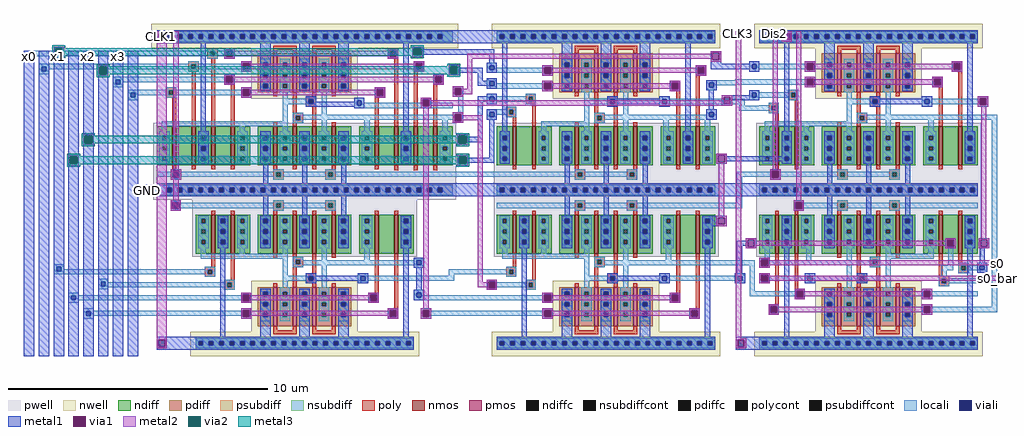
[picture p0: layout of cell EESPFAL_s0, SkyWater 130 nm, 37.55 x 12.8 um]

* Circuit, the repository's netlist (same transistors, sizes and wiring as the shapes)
* NGSPICE file created from EESPFAL_s0.ext - technology: sky130A

.subckt EESPFAL_XOR_v3 OUT A A_bar B B_bar Dis OUT_bar GND CLK
X0 CLK OUT OUT_bar CLK sky130_fd_pr__pfet_01v8 ad=2.7e+12p pd=1.26e+07u as=9e+11p ps=4.2e+06u w=1.5e+06u l=150000u M=2
X1 OUT_bar Dis GND GND sky130_fd_pr__nfet_01v8 ad=2.7e+12p pd=1.26e+07u as=2.7e+12p ps=1.26e+07u w=1.5e+06u l=150000u
X2 a_n840_410# A CLK GND sky130_fd_pr__nfet_01v8 ad=9e+11p pd=4.2e+06u as=7.5e+12p ps=3.22e+07u w=1.5e+06u l=150000u
X3 a_n1140_410# B_bar OUT_bar GND sky130_fd_pr__nfet_01v8 ad=9e+11p pd=4.2e+06u as=0p ps=0u w=1.5e+06u l=150000u
X4 a_420_410# B_bar OUT GND sky130_fd_pr__nfet_01v8 ad=9e+11p pd=4.2e+06u as=2.7e+12p ps=1.26e+07u w=1.5e+06u l=150000u
X5 GND Dis OUT GND sky130_fd_pr__nfet_01v8 ad=0p pd=0u as=0p ps=0u w=1.5e+06u l=150000u
X6 OUT OUT_bar CLK CLK sky130_fd_pr__pfet_01v8 ad=9e+11p pd=4.2e+06u as=0p ps=0u w=1.5e+06u l=150000u M=2
X7 a_720_410# A_bar CLK GND sky130_fd_pr__nfet_01v8 ad=9e+11p pd=4.2e+06u as=0p ps=0u w=1.5e+06u l=150000u
X8 OUT_bar B a_n840_410# GND sky130_fd_pr__nfet_01v8 ad=0p pd=0u as=0p ps=0u w=1.5e+06u l=150000u
X9 GND OUT OUT_bar GND sky130_fd_pr__nfet_01v8 ad=0p pd=0u as=0p ps=0u w=1.5e+06u l=150000u
X10 CLK A_bar a_n1140_410# GND sky130_fd_pr__nfet_01v8 ad=0p pd=0u as=0p ps=0u w=1.5e+06u l=150000u
X11 OUT OUT_bar GND GND sky130_fd_pr__nfet_01v8 ad=0p pd=0u as=0p ps=0u w=1.5e+06u l=150000u
X12 CLK A a_420_410# GND sky130_fd_pr__nfet_01v8 ad=0p pd=0u as=0p ps=0u w=1.5e+06u l=150000u
X13 OUT B a_720_410# GND sky130_fd_pr__nfet_01v8 ad=0p pd=0u as=0p ps=0u w=1.5e+06u l=150000u
.ends

.subckt EESPFAL_NOR_v3 OUT A A_bar B B_bar Dis OUT_bar GND CLK
X0 a_n1820_550# A_bar CLK GND sky130_fd_pr__nfet_01v8 ad=9e+11p pd=4.2e+06u as=6e+12p ps=2.62e+07u w=1.5e+06u l=150000u
X1 OUT_bar Dis GND GND sky130_fd_pr__nfet_01v8 ad=1.8e+12p pd=8.4e+06u as=2.7e+12p ps=1.26e+07u w=1.5e+06u l=150000u
X2 OUT OUT_bar CLK CLK sky130_fd_pr__pfet_01v8 ad=9e+11p pd=4.2e+06u as=2.7e+12p ps=1.26e+07u w=1.5e+06u l=150000u M=2
X3 CLK OUT OUT_bar CLK sky130_fd_pr__pfet_01v8 ad=0p pd=0u as=9e+11p ps=4.2e+06u w=1.5e+06u l=150000u M=2
X4 OUT_bar B_bar a_n1820_550# GND sky130_fd_pr__nfet_01v8 ad=0p pd=0u as=0p ps=0u w=1.5e+06u l=150000u
X5 GND Dis OUT GND sky130_fd_pr__nfet_01v8 ad=0p pd=0u as=2.7e+12p ps=1.26e+07u w=1.5e+06u l=150000u
X6 OUT A CLK GND sky130_fd_pr__nfet_01v8 ad=0p pd=0u as=0p ps=0u w=1.5e+06u l=150000u
X7 GND OUT OUT_bar GND sky130_fd_pr__nfet_01v8 ad=0p pd=0u as=0p ps=0u w=1.5e+06u l=150000u
X8 OUT OUT_bar GND GND sky130_fd_pr__nfet_01v8 ad=0p pd=0u as=0p ps=0u w=1.5e+06u l=150000u
X9 CLK B OUT GND sky130_fd_pr__nfet_01v8 ad=0p pd=0u as=0p ps=0u w=1.5e+06u l=150000u
.ends

.subckt EESPFAL_NAND_v3 OUT A A_bar B B_bar Dis OUT_bar GND CLK
X0 CLK OUT_bar OUT CLK sky130_fd_pr__pfet_01v8 ad=2.7e+12p pd=1.26e+07u as=9e+11p ps=4.2e+06u w=1.5e+06u l=150000u M=2
X1 CLK OUT OUT_bar CLK sky130_fd_pr__pfet_01v8 ad=0p pd=0u as=9e+11p ps=4.2e+06u w=1.5e+06u l=150000u M=2
X2 OUT_bar Dis GND GND sky130_fd_pr__nfet_01v8 ad=2.7e+12p pd=1.26e+07u as=2.7e+12p ps=1.26e+07u w=1.5e+06u l=150000u
X3 GND OUT OUT_bar GND sky130_fd_pr__nfet_01v8 ad=0p pd=0u as=0p ps=0u w=1.5e+06u l=150000u
X4 GND Dis OUT GND sky130_fd_pr__nfet_01v8 ad=0p pd=0u as=1.8e+12p ps=8.4e+06u w=1.5e+06u l=150000u
X5 OUT_bar A_bar CLK GND sky130_fd_pr__nfet_01v8 ad=0p pd=0u as=6e+12p ps=2.62e+07u w=1.5e+06u l=150000u
X6 OUT OUT_bar GND GND sky130_fd_pr__nfet_01v8 ad=0p pd=0u as=0p ps=0u w=1.5e+06u l=150000u
X7 a_501_n414# B OUT GND sky130_fd_pr__nfet_01v8 ad=9e+11p pd=4.2e+06u as=0p ps=0u w=1.5e+06u l=150000u
X8 CLK A a_501_n414# GND sky130_fd_pr__nfet_01v8 ad=0p pd=0u as=0p ps=0u w=1.5e+06u l=150000u
X9 CLK B_bar OUT_bar GND sky130_fd_pr__nfet_01v8 ad=0p pd=0u as=0p ps=0u w=1.5e+06u l=150000u
.ends

.subckt EESPFAL_s0 GND x0 x0_bar x1 x1_bar x2 x2_bar x3 x3_bar CLK1 Dis1 CLK3 Dis2
+ CLK2 Dis3 s0 s0_bar
XEESPFAL_XOR_v3_0 EESPFAL_NAND_v3_0/A x0 x0_bar x3 x3_bar Dis1 EESPFAL_NAND_v3_1/A
+ GND CLK1 EESPFAL_XOR_v3
XEESPFAL_NOR_v3_0 s0 EESPFAL_NOR_v3_0/A EESPFAL_NOR_v3_0/A_bar EESPFAL_NOR_v3_0/B
+ EESPFAL_NOR_v3_0/B_bar Dis3 s0_bar GND CLK3 EESPFAL_NOR_v3
XEESPFAL_NOR_v3_1 EESPFAL_NAND_v3_0/B x1 x1_bar x2_bar x2 Dis1 EESPFAL_NAND_v3_0/B_bar
+ GND CLK1 EESPFAL_NOR_v3
XEESPFAL_NAND_v3_0 EESPFAL_NOR_v3_0/A EESPFAL_NAND_v3_0/A EESPFAL_NAND_v3_1/A EESPFAL_NAND_v3_0/B
+ EESPFAL_NAND_v3_0/B_bar Dis2 EESPFAL_NOR_v3_0/A_bar GND CLK2 EESPFAL_NAND_v3
XEESPFAL_NAND_v3_1 EESPFAL_NOR_v3_0/B EESPFAL_NAND_v3_1/A EESPFAL_NAND_v3_0/A EESPFAL_NAND_v3_1/B
+ EESPFAL_NAND_v3_1/B_bar Dis2 EESPFAL_NOR_v3_0/B_bar GND CLK2 EESPFAL_NAND_v3
XEESPFAL_NAND_v3_2 EESPFAL_NAND_v3_1/B x2 x2_bar x1_bar x1 Dis1 EESPFAL_NAND_v3_1/B_bar
+ GND CLK1 EESPFAL_NAND_v3
.ends

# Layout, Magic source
magic
tech sky130A
magscale 1 2
<< locali >>
rect -650 3710 290 3750
rect -536 3610 290 3650
rect 34 3510 290 3550
rect 4742 3526 4930 3530
rect 4600 3490 4930 3526
rect 4600 3486 4742 3490
rect 148 3410 290 3450
rect 2610 3275 2650 3398
rect 4590 3340 4816 3380
rect 4776 3329 4816 3340
rect 4776 3289 4930 3329
rect 2570 3220 2604 3260
rect 6610 3220 6758 3260
rect 1670 2780 2910 2820
rect 4757 2780 4930 2820
rect 182 2640 290 2720
rect 4757 2580 4797 2780
rect 398 2540 590 2580
rect 3990 2540 4797 2580
rect 5272 2540 5530 2580
rect 4590 2100 4895 2140
rect 6381 2100 6421 2230
rect -422 2030 590 2070
rect 2540 2030 2910 2070
rect 2540 2020 2580 2030
rect 2269 1980 2580 2020
rect 4590 1980 4741 2020
rect -80 1930 590 1970
rect 4855 1900 4895 2100
rect 6330 2060 6421 2100
rect 6330 2020 6370 2060
rect -308 1830 590 1870
rect 2350 1830 2910 1870
rect 4855 1860 5200 1900
rect 6718 1780 6758 3220
rect -194 1710 590 1750
rect 2404 1710 2910 1750
rect 6610 1740 6758 1780
<< metal1 >>
rect 2570 3810 2910 3910
rect -730 1399 -650 3750
rect -616 1399 -536 3750
rect -502 1399 -422 3750
rect -388 1399 -308 3750
rect -274 1400 -194 3750
rect -160 1399 -80 3750
rect -46 1400 34 3750
rect 68 1399 148 3750
rect 2338 3722 2890 3762
rect 2850 3660 2890 3722
rect 4554 3650 4634 3668
rect 2618 3582 2802 3622
rect 4554 3610 4850 3650
rect 2762 3520 2802 3582
rect 2762 3480 2830 3520
rect 2762 3360 2830 3400
rect 2762 3088 2802 3360
rect 4539 3300 4579 3471
rect 4720 3369 4850 3409
rect 2685 3048 2802 3088
rect 2850 2928 2890 3220
rect 2661 2888 2890 2928
rect 4678 2900 5100 2940
rect 200 2657 245 2702
rect 2569 2630 2910 2730
rect 4590 2630 4930 2730
rect 4570 2400 4598 2480
rect 4757 2250 4825 2290
rect 2290 1910 2330 2080
rect 4757 2040 4797 2250
rect 6624 2121 6664 2230
rect 290 1450 590 1550
rect 4748 1450 4930 1550
<< metal2 >>
rect 290 1540 370 3900
rect 419 2520 459 3900
rect 2680 3688 4554 3728
rect 2680 3458 2720 3688
rect 2650 3418 2720 3458
rect 2404 3329 4720 3369
rect 2344 1770 2384 3310
rect 2650 3216 2802 3256
rect 2762 1970 2802 3216
rect 4618 2480 4658 2880
rect 2762 1930 2830 1970
rect 4748 1540 4788 3900
rect 5032 2840 5072 3900
rect 5120 3830 5160 3900
rect 5212 2600 5252 3900
rect 6636 2310 6676 3320
rect 4905 2250 6360 2290
rect 5010 2100 6781 2140
rect 5010 1980 6781 2020
<< metal3 >>
rect -412 3712 2248 3772
rect -70 3572 2528 3632
rect -184 3038 2595 3098
rect -298 2878 2619 2938
use EESPFAL_NAND_v3  EESPFAL_NAND_v3_0
transform 1 0 5839 0 1 3284
box -949 -680 811 676
use EESPFAL_NAND_v3  EESPFAL_NAND_v3_1
transform 1 0 3819 0 -1 2076
box -949 -680 811 676
use EESPFAL_NAND_v3  EESPFAL_NAND_v3_2
transform 1 0 1499 0 -1 2076
box -949 -680 811 676
use EESPFAL_NOR_v3  EESPFAL_NOR_v3_0
transform -1 0 4640 0 -1 3040
box -2010 284 -250 1640
use EESPFAL_NOR_v3  EESPFAL_NOR_v3_1
transform 1 0 4880 0 1 2320
box -2010 284 -250 1640
use EESPFAL_XOR_v3  EESPFAL_XOR_v3_0
transform 1 0 1580 0 1 2460
box -1330 144 1030 1500
use Li_mcon_M1  Li_mcon_M1_0
transform 1 0 6624 0 1 2061
box -20 -20 60 60
use Li_mcon_M1  Li_mcon_M1_1
transform 1 0 4870 0 1 3610
box -20 -20 60 60
use Li_mcon_M1  Li_mcon_M1_2
transform -1 0 4580 0 1 3466
box -20 -20 60 60
use Li_mcon_M1  Li_mcon_M1_3
transform 1 0 4540 0 1 3240
box -20 -20 60 60
use Li_mcon_M1  Li_mcon_M1_4
transform 1 0 4870 0 1 3389
box -20 -20 60 60
use Li_mcon_M1  Li_mcon_M1_5
transform 1 0 4761 0 1 1980
box -20 -20 60 60
use Li_mcon_M1  Li_mcon_M1_6
transform 1 0 2850 0 1 3600
box -20 -20 60 60
use Li_mcon_M1  Li_mcon_M1_7
transform 1 0 2850 0 1 3480
box -20 -20 60 60
use Li_mcon_M1  Li_mcon_M1_8
transform 1 0 2850 0 1 3240
box -20 -20 60 60
use Li_mcon_M1  Li_mcon_M1_9
transform 1 0 2850 0 1 3360
box -20 -20 60 60
use Li_mcon_M1  Li_mcon_M1_10
transform 1 0 2290 0 1 1850
box -20 -20 60 60
use Li_mcon_M1  Li_mcon_M1_11
transform 1 0 2290 0 1 2100
box -20 -20 60 60
use Li_mcon_M1  Li_mcon_M1_12
transform 1 0 -26 0 1 3490
box -20 -20 60 60
use Li_mcon_M1  Li_mcon_M1_13
transform 1 0 88 0 1 3390
box -20 -20 60 60
use Li_mcon_M1  Li_mcon_M1_14
transform 1 0 -710 0 1 3690
box -20 -20 60 60
use Li_mcon_M1  Li_mcon_M1_15
transform 1 0 -596 0 1 3590
box -20 -20 60 60
use Li_mcon_M1  Li_mcon_M1_16
transform 1 0 202 0 1 2660
box -20 -20 60 60
use Li_mcon_M1  Li_mcon_M1_17
transform 1 0 -482 0 1 2050
box -20 -20 60 60
use Li_mcon_M1  Li_mcon_M1_18
transform 1 0 -140 0 1 1936
box -20 -20 60 60
use Li_mcon_M1  Li_mcon_M1_19
transform 1 0 -368 0 1 1830
box -20 -20 60 60
use Li_mcon_M1  Li_mcon_M1_20
transform 1 0 -254 0 1 1710
box -20 -20 60 60
use Li_via_M2  Li_via_M2_0
transform 1 0 6650 0 1 3358
box -40 -38 40 42
use Li_via_M2  Li_via_M2_1
transform 1 0 6400 0 1 2268
box -40 -38 40 42
use Li_via_M2  Li_via_M2_2
transform 1 0 5052 0 1 2798
box -40 -38 40 42
use Li_via_M2  Li_via_M2_3
transform 1 0 4970 0 1 1998
box -40 -38 40 42
use Li_via_M2  Li_via_M2_4
transform 1 0 4970 0 1 2118
box -40 -38 40 42
use Li_via_M2  Li_via_M2_5
transform 1 0 5232 0 1 2558
box -40 -38 40 42
use Li_via_M2  Li_via_M2_6
transform 1 0 2364 0 1 3348
box -40 -38 40 42
use Li_via_M2  Li_via_M2_7
transform 1 0 2610 0 1 3436
box -40 -38 40 42
use Li_via_M2  Li_via_M2_8
transform 1 0 2610 0 1 3234
box -40 -38 40 42
use Li_via_M2  Li_via_M2_9
transform 1 0 2870 0 1 1948
box -40 -38 40 42
use Li_via_M2  Li_via_M2_10
transform 1 0 2364 0 1 1728
box -40 -38 40 42
use Li_via_M2  Li_via_M2_11
transform 1 0 439 0 1 2798
box -40 -38 40 42
use Li_via_M2  Li_via_M2_12
transform 1 0 438 0 1 2558
box -40 -38 40 42
use M1_M3  M1_M3_0
transform 1 0 2358 0 1 3782
box -110 -90 -10 10
use M1_M3  M1_M3_1
transform 1 0 2638 0 1 3642
box -110 -90 -10 10
use M1_M3  M1_M3_2
transform 1 0 2705 0 1 2948
box -110 -90 -10 10
use M1_M3  M1_M3_3
transform 1 0 2705 0 1 3108
box -110 -90 -10 10
use M1_M3  M1_M3_4
transform 1 0 -60 0 1 3639
box -110 -90 -10 10
use M1_M3  M1_M3_5
transform 1 0 -402 0 1 3782
box -110 -90 -10 10
use M1_M3  M1_M3_6
transform 1 0 -288 0 1 2948
box -110 -90 -10 10
use M1_M3  M1_M3_7
transform 1 0 -174 0 1 3108
box -110 -90 -10 10
use M1_via_M2  M1_via_M2_0
transform 1 0 6658 0 1 2268
box -40 -38 40 42
use M1_via_M2  M1_via_M2_1
transform 1 0 5140 0 1 3858
box -40 -38 40 42
use M1_via_M2  M1_via_M2_2
transform 1 0 4638 0 1 2918
box -40 -38 40 42
use M1_via_M2  M1_via_M2_3
transform 1 0 4680 0 1 3367
box -40 -38 40 42
use M1_via_M2  M1_via_M2_4
transform 1 0 4594 0 1 3706
box -40 -38 40 42
use M1_via_M2  M1_via_M2_5
transform 1 0 4788 0 1 1498
box -40 -38 40 42
use M1_via_M2  M1_via_M2_6
transform 1 0 4638 0 1 2438
box -40 -38 40 42
use M1_via_M2  M1_via_M2_7
transform 1 0 4865 0 1 2268
box -40 -38 40 42
use M1_via_M2  M1_via_M2_8
transform 1 0 330 0 1 3858
box -40 -38 40 42
use M1_via_M2  M1_via_M2_9
transform 1 0 330 0 1 1498
box -40 -38 40 42
<< labels >>
flabel metal1 s 200 2657 245 2702 2 FreeSans 2500 0 0 0 GND
port 1 nsew
flabel metal1 s -720 3676 -659 3736 2 FreeSans 3126 0 0 0 x0
port 2 nsew
flabel metal1 s -607 3615 -546 3675 2 FreeSans 3126 0 0 0 x0_bar
port 3 nsew
flabel metal1 s -492 3676 -431 3736 2 FreeSans 3126 0 0 0 x1
port 4 nsew
flabel metal1 s -378 3615 -317 3675 2 FreeSans 3126 0 0 0 x1_bar
port 5 nsew
flabel metal1 s -264 3677 -203 3737 2 FreeSans 3126 0 0 0 x2
port 6 nsew
flabel metal1 s -151 3616 -90 3676 2 FreeSans 3126 0 0 0 x2_bar
port 7 nsew
flabel metal1 s -36 3677 25 3737 2 FreeSans 3126 0 0 0 x3
port 8 nsew
flabel metal1 s 78 3616 139 3676 2 FreeSans 3126 0 0 0 x3_bar
port 9 nsew
flabel metal2 s 308 3844 348 3884 2 FreeSans 2500 0 0 0 CLK1
port 10 nsew
flabel metal2 s 430 3860 450 3880 2 FreeSans 2500 0 0 0 Dis1
port 11 nsew
flabel metal2 s 4758 3872 4778 3892 2 FreeSans 2500 0 0 0 CLK3
port 12 nsew
flabel metal2 s 5040 3875 5055 3890 2 FreeSans 2500 0 0 0 Dis2
port 13 nsew
flabel metal2 s 5130 3875 5145 3890 2 FreeSans 2500 0 0 0 CLK2
port 14 nsew
flabel metal2 s 5225 3875 5240 3890 2 FreeSans 2500 0 0 0 Dis3
port 15 nsew
flabel metal2 s 6755 2110 6770 2125 2 FreeSans 2500 0 0 0 s0
port 16 nsew
flabel metal2 s 6755 1990 6770 2005 2 FreeSans 2500 0 0 0 s0_bar
port 17 nsew
<< end >>

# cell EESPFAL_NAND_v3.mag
magic
tech sky130A
magscale 1 2
<< nwell >>
rect -949 486 811 676
rect -479 96 341 486
<< pwell >>
rect -935 -680 797 -88
<< nmos >>
rect -789 -414 -759 -114
rect -639 -414 -609 -114
rect -309 -414 -279 -114
rect -159 -414 -129 -114
rect -9 -414 21 -114
rect 141 -414 171 -114
rect 471 -414 501 -114
rect 621 -414 651 -114
<< pmos >>
rect -309 146 -279 446
rect -159 146 -129 446
rect -9 146 21 446
rect 141 146 171 446
<< ndiff >>
rect -909 -187 -789 -114
rect -909 -221 -866 -187
rect -832 -221 -789 -187
rect -909 -267 -789 -221
rect -909 -301 -866 -267
rect -832 -301 -789 -267
rect -909 -347 -789 -301
rect -909 -381 -866 -347
rect -832 -381 -789 -347
rect -909 -414 -789 -381
rect -759 -187 -639 -114
rect -759 -221 -716 -187
rect -682 -221 -639 -187
rect -759 -267 -639 -221
rect -759 -301 -716 -267
rect -682 -301 -639 -267
rect -759 -347 -639 -301
rect -759 -381 -716 -347
rect -682 -381 -639 -347
rect -759 -414 -639 -381
rect -609 -187 -489 -114
rect -609 -221 -566 -187
rect -532 -221 -489 -187
rect -609 -267 -489 -221
rect -609 -301 -566 -267
rect -532 -301 -489 -267
rect -609 -347 -489 -301
rect -609 -381 -566 -347
rect -532 -381 -489 -347
rect -609 -414 -489 -381
rect -429 -187 -309 -114
rect -429 -221 -386 -187
rect -352 -221 -309 -187
rect -429 -267 -309 -221
rect -429 -301 -386 -267
rect -352 -301 -309 -267
rect -429 -347 -309 -301
rect -429 -381 -386 -347
rect -352 -381 -309 -347
rect -429 -414 -309 -381
rect -279 -187 -159 -114
rect -279 -221 -236 -187
rect -202 -221 -159 -187
rect -279 -267 -159 -221
rect -279 -301 -236 -267
rect -202 -301 -159 -267
rect -279 -347 -159 -301
rect -279 -381 -236 -347
rect -202 -381 -159 -347
rect -279 -414 -159 -381
rect -129 -187 -9 -114
rect -129 -221 -86 -187
rect -52 -221 -9 -187
rect -129 -267 -9 -221
rect -129 -301 -86 -267
rect -52 -301 -9 -267
rect -129 -347 -9 -301
rect -129 -381 -86 -347
rect -52 -381 -9 -347
rect -129 -414 -9 -381
rect 21 -187 141 -114
rect 21 -221 64 -187
rect 98 -221 141 -187
rect 21 -267 141 -221
rect 21 -301 64 -267
rect 98 -301 141 -267
rect 21 -347 141 -301
rect 21 -381 64 -347
rect 98 -381 141 -347
rect 21 -414 141 -381
rect 171 -187 291 -114
rect 171 -221 214 -187
rect 248 -221 291 -187
rect 171 -267 291 -221
rect 171 -301 214 -267
rect 248 -301 291 -267
rect 171 -347 291 -301
rect 171 -381 214 -347
rect 248 -381 291 -347
rect 171 -414 291 -381
rect 351 -187 471 -114
rect 351 -221 394 -187
rect 428 -221 471 -187
rect 351 -267 471 -221
rect 351 -301 394 -267
rect 428 -301 471 -267
rect 351 -347 471 -301
rect 351 -381 394 -347
rect 428 -381 471 -347
rect 351 -414 471 -381
rect 501 -414 621 -114
rect 651 -187 771 -114
rect 651 -221 694 -187
rect 728 -221 771 -187
rect 651 -267 771 -221
rect 651 -301 694 -267
rect 728 -301 771 -267
rect 651 -347 771 -301
rect 651 -381 694 -347
rect 728 -381 771 -347
rect 651 -414 771 -381
<< pdiff >>
rect -429 373 -309 446
rect -429 339 -386 373
rect -352 339 -309 373
rect -429 293 -309 339
rect -429 259 -386 293
rect -352 259 -309 293
rect -429 213 -309 259
rect -429 179 -386 213
rect -352 179 -309 213
rect -429 146 -309 179
rect -279 373 -159 446
rect -279 339 -236 373
rect -202 339 -159 373
rect -279 293 -159 339
rect -279 259 -236 293
rect -202 259 -159 293
rect -279 213 -159 259
rect -279 179 -236 213
rect -202 179 -159 213
rect -279 146 -159 179
rect -129 373 -9 446
rect -129 339 -86 373
rect -52 339 -9 373
rect -129 293 -9 339
rect -129 259 -86 293
rect -52 259 -9 293
rect -129 213 -9 259
rect -129 179 -86 213
rect -52 179 -9 213
rect -129 146 -9 179
rect 21 373 141 446
rect 21 339 64 373
rect 98 339 141 373
rect 21 293 141 339
rect 21 259 64 293
rect 98 259 141 293
rect 21 213 141 259
rect 21 179 64 213
rect 98 179 141 213
rect 21 146 141 179
rect 171 373 291 446
rect 171 339 214 373
rect 248 339 291 373
rect 171 293 291 339
rect 171 259 214 293
rect 248 259 291 293
rect 171 213 291 259
rect 171 179 214 213
rect 248 179 291 213
rect 171 146 291 179
<< ndiffc >>
rect -866 -221 -832 -187
rect -866 -301 -832 -267
rect -866 -381 -832 -347
rect -716 -221 -682 -187
rect -716 -301 -682 -267
rect -716 -381 -682 -347
rect -566 -221 -532 -187
rect -566 -301 -532 -267
rect -566 -381 -532 -347
rect -386 -221 -352 -187
rect -386 -301 -352 -267
rect -386 -381 -352 -347
rect -236 -221 -202 -187
rect -236 -301 -202 -267
rect -236 -381 -202 -347
rect -86 -221 -52 -187
rect -86 -301 -52 -267
rect -86 -381 -52 -347
rect 64 -221 98 -187
rect 64 -301 98 -267
rect 64 -381 98 -347
rect 214 -221 248 -187
rect 214 -301 248 -267
rect 214 -381 248 -347
rect 394 -221 428 -187
rect 394 -301 428 -267
rect 394 -381 428 -347
rect 694 -221 728 -187
rect 694 -301 728 -267
rect 694 -381 728 -347
<< pdiffc >>
rect -386 339 -352 373
rect -386 259 -352 293
rect -386 179 -352 213
rect -236 339 -202 373
rect -236 259 -202 293
rect -236 179 -202 213
rect -86 339 -52 373
rect -86 259 -52 293
rect -86 179 -52 213
rect 64 339 98 373
rect 64 259 98 293
rect 64 179 98 213
rect 214 339 248 373
rect 214 259 248 293
rect 214 179 248 213
<< psubdiff >>
rect -909 -587 771 -554
rect -909 -621 -886 -587
rect -852 -621 -806 -587
rect -772 -621 -726 -587
rect -692 -621 -646 -587
rect -612 -621 -566 -587
rect -532 -621 -486 -587
rect -452 -621 -406 -587
rect -372 -621 -326 -587
rect -292 -621 -246 -587
rect -212 -621 -166 -587
rect -132 -621 -86 -587
rect -52 -621 -6 -587
rect 28 -621 74 -587
rect 108 -621 154 -587
rect 188 -621 234 -587
rect 268 -621 314 -587
rect 348 -621 394 -587
rect 428 -621 474 -587
rect 508 -621 554 -587
rect 588 -621 634 -587
rect 668 -621 714 -587
rect 748 -621 771 -587
rect -909 -654 771 -621
<< nsubdiff >>
rect -909 593 771 626
rect -909 559 -886 593
rect -852 559 -806 593
rect -772 559 -726 593
rect -692 559 -646 593
rect -612 559 -566 593
rect -532 559 -486 593
rect -452 559 -406 593
rect -372 559 -326 593
rect -292 559 -246 593
rect -212 559 -166 593
rect -132 559 -86 593
rect -52 559 -6 593
rect 28 559 74 593
rect 108 559 154 593
rect 188 559 234 593
rect 268 559 314 593
rect 348 559 394 593
rect 428 559 474 593
rect 508 559 554 593
rect 588 559 634 593
rect 668 559 714 593
rect 748 559 771 593
rect -909 526 771 559
<< psubdiffcont >>
rect -886 -621 -852 -587
rect -806 -621 -772 -587
rect -726 -621 -692 -587
rect -646 -621 -612 -587
rect -566 -621 -532 -587
rect -486 -621 -452 -587
rect -406 -621 -372 -587
rect -326 -621 -292 -587
rect -246 -621 -212 -587
rect -166 -621 -132 -587
rect -86 -621 -52 -587
rect -6 -621 28 -587
rect 74 -621 108 -587
rect 154 -621 188 -587
rect 234 -621 268 -587
rect 314 -621 348 -587
rect 394 -621 428 -587
rect 474 -621 508 -587
rect 554 -621 588 -587
rect 634 -621 668 -587
rect 714 -621 748 -587
<< nsubdiffcont >>
rect -886 559 -852 593
rect -806 559 -772 593
rect -726 559 -692 593
rect -646 559 -612 593
rect -566 559 -532 593
rect -486 559 -452 593
rect -406 559 -372 593
rect -326 559 -292 593
rect -246 559 -212 593
rect -166 559 -132 593
rect -86 559 -52 593
rect -6 559 28 593
rect 74 559 108 593
rect 154 559 188 593
rect 234 559 268 593
rect 314 559 348 593
rect 394 559 428 593
rect 474 559 508 593
rect 554 559 588 593
rect 634 559 668 593
rect 714 559 748 593
<< poly >>
rect -309 476 -129 506
rect -309 446 -279 476
rect -159 446 -129 476
rect -9 476 171 506
rect -9 446 21 476
rect 141 446 171 476
rect -689 143 -609 166
rect 571 363 651 386
rect 571 329 594 363
rect 628 329 651 363
rect 571 306 651 329
rect 421 243 501 266
rect 421 209 444 243
rect 478 209 501 243
rect 421 186 501 209
rect -689 109 -666 143
rect -632 109 -609 143
rect -309 116 -279 146
rect -689 86 -609 109
rect -839 43 -759 66
rect -839 9 -816 43
rect -782 9 -759 43
rect -839 -14 -759 9
rect -789 -114 -759 -14
rect -639 -114 -609 86
rect -159 -9 -129 146
rect -9 116 21 146
rect 141 116 171 146
rect -59 93 21 116
rect -59 59 -36 93
rect -2 59 21 93
rect -59 36 21 59
rect -159 -32 -79 -9
rect -159 -66 -136 -32
rect -102 -66 -79 -32
rect -309 -114 -279 -84
rect -159 -89 -79 -66
rect -159 -114 -129 -89
rect -9 -114 21 36
rect 141 -114 171 -84
rect 471 -114 501 186
rect 621 -114 651 306
rect -789 -444 -759 -414
rect -639 -444 -609 -414
rect -309 -444 -279 -414
rect -159 -444 -129 -414
rect -9 -444 21 -414
rect 141 -444 171 -414
rect 471 -444 501 -414
rect 621 -444 651 -414
rect -309 -467 -229 -444
rect -309 -501 -286 -467
rect -252 -501 -229 -467
rect -309 -524 -229 -501
rect 91 -467 171 -444
rect 91 -501 114 -467
rect 148 -501 171 -467
rect 91 -524 171 -501
<< polycont >>
rect 594 329 628 363
rect 444 209 478 243
rect -666 109 -632 143
rect -816 9 -782 43
rect -36 59 -2 93
rect -136 -66 -102 -32
rect -286 -501 -252 -467
rect 114 -501 148 -467
<< locali >>
rect -909 593 771 616
rect -909 559 -886 593
rect -852 559 -806 593
rect -772 559 -726 593
rect -692 559 -646 593
rect -612 559 -566 593
rect -532 559 -486 593
rect -452 559 -406 593
rect -372 559 -326 593
rect -292 559 -246 593
rect -212 559 -166 593
rect -132 559 -86 593
rect -52 559 -6 593
rect 28 559 74 593
rect 108 559 154 593
rect 188 559 234 593
rect 268 559 314 593
rect 348 559 394 593
rect 428 559 474 593
rect 508 559 554 593
rect 588 559 634 593
rect 668 559 714 593
rect 748 559 771 593
rect -909 536 771 559
rect -559 366 -479 386
rect -909 363 -479 366
rect -909 329 -536 363
rect -502 329 -479 363
rect -909 326 -479 329
rect -559 306 -479 326
rect -409 373 -329 406
rect -409 339 -386 373
rect -352 339 -329 373
rect -409 293 -329 339
rect -559 246 -479 266
rect -909 243 -479 246
rect -909 209 -536 243
rect -502 209 -479 243
rect -909 206 -479 209
rect -559 186 -479 206
rect -409 259 -386 293
rect -352 259 -329 293
rect -409 213 -329 259
rect -409 179 -386 213
rect -352 179 -329 213
rect -689 146 -609 166
rect -409 156 -329 179
rect -259 373 -179 406
rect -259 339 -236 373
rect -202 339 -179 373
rect -259 293 -179 339
rect -259 259 -236 293
rect -202 259 -179 293
rect -259 213 -179 259
rect -259 179 -236 213
rect -202 179 -179 213
rect -259 146 -179 179
rect -109 373 -29 406
rect -109 339 -86 373
rect -52 339 -29 373
rect -109 293 -29 339
rect -109 259 -86 293
rect -52 259 -29 293
rect -109 213 -29 259
rect -109 179 -86 213
rect -52 179 -29 213
rect -109 156 -29 179
rect 41 373 121 406
rect 41 339 64 373
rect 98 339 121 373
rect 41 293 121 339
rect 41 259 64 293
rect 98 259 121 293
rect 41 213 121 259
rect 41 179 64 213
rect 98 179 121 213
rect 41 146 121 179
rect 191 373 271 406
rect 191 339 214 373
rect 248 339 271 373
rect 191 293 271 339
rect 571 363 651 386
rect 571 329 594 363
rect 628 329 651 363
rect 571 306 651 329
rect 191 259 214 293
rect 248 259 271 293
rect 191 213 271 259
rect 191 179 214 213
rect 248 179 271 213
rect 421 243 501 266
rect 421 209 444 243
rect 478 209 501 243
rect 421 186 501 209
rect 191 156 271 179
rect -909 143 -609 146
rect -909 109 -666 143
rect -632 109 -609 143
rect -909 106 -609 109
rect -689 86 -609 106
rect -239 96 -199 146
rect -59 96 21 116
rect -239 93 21 96
rect -839 46 -759 66
rect -909 43 -759 46
rect -909 9 -816 43
rect -782 9 -759 43
rect -909 6 -759 9
rect -839 -14 -759 6
rect -239 59 -36 93
rect -2 59 21 93
rect -239 56 21 59
rect -239 -74 -199 56
rect -59 36 21 56
rect -869 -114 -199 -74
rect -159 -24 -79 -9
rect 61 -24 101 146
rect 341 96 421 116
rect 341 93 771 96
rect 341 59 364 93
rect 398 59 771 93
rect 341 56 771 59
rect 341 36 421 56
rect -159 -32 771 -24
rect -159 -66 -136 -32
rect -102 -64 771 -32
rect -102 -66 -79 -64
rect -159 -89 -79 -66
rect -869 -154 -829 -114
rect -569 -154 -529 -114
rect -238 -154 -199 -114
rect 61 -154 101 -64
rect 391 -154 431 -64
rect -889 -187 -809 -154
rect -889 -221 -866 -187
rect -832 -221 -809 -187
rect -889 -267 -809 -221
rect -889 -301 -866 -267
rect -832 -301 -809 -267
rect -889 -347 -809 -301
rect -889 -381 -866 -347
rect -832 -381 -809 -347
rect -889 -404 -809 -381
rect -739 -187 -659 -154
rect -739 -221 -716 -187
rect -682 -221 -659 -187
rect -739 -267 -659 -221
rect -739 -301 -716 -267
rect -682 -301 -659 -267
rect -739 -347 -659 -301
rect -739 -381 -716 -347
rect -682 -381 -659 -347
rect -739 -404 -659 -381
rect -589 -187 -509 -154
rect -589 -221 -566 -187
rect -532 -221 -509 -187
rect -589 -267 -509 -221
rect -589 -301 -566 -267
rect -532 -301 -509 -267
rect -589 -347 -509 -301
rect -589 -381 -566 -347
rect -532 -381 -509 -347
rect -589 -404 -509 -381
rect -409 -187 -329 -154
rect -409 -221 -386 -187
rect -352 -221 -329 -187
rect -409 -267 -329 -221
rect -409 -301 -386 -267
rect -352 -301 -329 -267
rect -409 -347 -329 -301
rect -409 -381 -386 -347
rect -352 -381 -329 -347
rect -409 -404 -329 -381
rect -259 -187 -179 -154
rect -259 -221 -236 -187
rect -202 -221 -179 -187
rect -259 -267 -179 -221
rect -259 -301 -236 -267
rect -202 -301 -179 -267
rect -259 -347 -179 -301
rect -259 -381 -236 -347
rect -202 -381 -179 -347
rect -259 -404 -179 -381
rect -109 -187 -29 -154
rect -109 -221 -86 -187
rect -52 -221 -29 -187
rect -109 -267 -29 -221
rect -109 -301 -86 -267
rect -52 -301 -29 -267
rect -109 -347 -29 -301
rect -109 -381 -86 -347
rect -52 -381 -29 -347
rect -109 -404 -29 -381
rect 41 -187 121 -154
rect 41 -221 64 -187
rect 98 -221 121 -187
rect 41 -267 121 -221
rect 41 -301 64 -267
rect 98 -301 121 -267
rect 41 -347 121 -301
rect 41 -381 64 -347
rect 98 -381 121 -347
rect 41 -404 121 -381
rect 191 -187 271 -154
rect 191 -221 214 -187
rect 248 -221 271 -187
rect 191 -267 271 -221
rect 191 -301 214 -267
rect 248 -301 271 -267
rect 191 -347 271 -301
rect 191 -381 214 -347
rect 248 -381 271 -347
rect 191 -404 271 -381
rect 371 -187 451 -154
rect 371 -221 394 -187
rect 428 -221 451 -187
rect 371 -267 451 -221
rect 371 -301 394 -267
rect 428 -301 451 -267
rect 371 -347 451 -301
rect 371 -381 394 -347
rect 428 -381 451 -347
rect 371 -404 451 -381
rect 671 -187 751 -154
rect 671 -221 694 -187
rect 728 -221 751 -187
rect 671 -267 751 -221
rect 671 -301 694 -267
rect 728 -301 751 -267
rect 671 -347 751 -301
rect 671 -381 694 -347
rect 728 -381 751 -347
rect 671 -404 751 -381
rect -309 -464 -229 -444
rect 91 -464 171 -444
rect -909 -467 171 -464
rect -909 -501 -286 -467
rect -252 -501 114 -467
rect 148 -501 171 -467
rect -909 -504 171 -501
rect -309 -524 -229 -504
rect 91 -524 171 -504
rect -909 -587 771 -564
rect -909 -621 -886 -587
rect -852 -621 -806 -587
rect -772 -621 -726 -587
rect -692 -621 -646 -587
rect -612 -621 -566 -587
rect -532 -621 -486 -587
rect -452 -621 -406 -587
rect -372 -621 -326 -587
rect -292 -621 -246 -587
rect -212 -621 -166 -587
rect -132 -621 -86 -587
rect -52 -621 -6 -587
rect 28 -621 74 -587
rect 108 -621 154 -587
rect 188 -621 234 -587
rect 268 -621 314 -587
rect 348 -621 394 -587
rect 428 -621 474 -587
rect 508 -621 554 -587
rect 588 -621 634 -587
rect 668 -621 714 -587
rect 748 -621 771 -587
rect -909 -644 771 -621
<< viali >>
rect -886 559 -852 593
rect -806 559 -772 593
rect -726 559 -692 593
rect -646 559 -612 593
rect -566 559 -532 593
rect -486 559 -452 593
rect -406 559 -372 593
rect -326 559 -292 593
rect -246 559 -212 593
rect -166 559 -132 593
rect -86 559 -52 593
rect -6 559 28 593
rect 74 559 108 593
rect 154 559 188 593
rect 234 559 268 593
rect 314 559 348 593
rect 394 559 428 593
rect 474 559 508 593
rect 554 559 588 593
rect 634 559 668 593
rect 714 559 748 593
rect -536 329 -502 363
rect -386 339 -352 373
rect -536 209 -502 243
rect -386 259 -352 293
rect -386 179 -352 213
rect -86 339 -52 373
rect -86 259 -52 293
rect -86 179 -52 213
rect 214 339 248 373
rect 594 329 628 363
rect 214 259 248 293
rect 214 179 248 213
rect 444 209 478 243
rect -36 59 -2 93
rect 364 59 398 93
rect -716 -221 -682 -187
rect -716 -301 -682 -267
rect -716 -381 -682 -347
rect -386 -221 -352 -187
rect -386 -301 -352 -267
rect -386 -381 -352 -347
rect -86 -221 -52 -187
rect -86 -301 -52 -267
rect -86 -381 -52 -347
rect 214 -221 248 -187
rect 214 -301 248 -267
rect 214 -381 248 -347
rect 694 -221 728 -187
rect 694 -301 728 -267
rect 694 -381 728 -347
rect -886 -621 -852 -587
rect -806 -621 -772 -587
rect -726 -621 -692 -587
rect -646 -621 -612 -587
rect -566 -621 -532 -587
rect -486 -621 -452 -587
rect -406 -621 -372 -587
rect -326 -621 -292 -587
rect -246 -621 -212 -587
rect -166 -621 -132 -587
rect -86 -621 -52 -587
rect -6 -621 28 -587
rect 74 -621 108 -587
rect 154 -621 188 -587
rect 234 -621 268 -587
rect 314 -621 348 -587
rect 394 -621 428 -587
rect 474 -621 508 -587
rect 554 -621 588 -587
rect 634 -621 668 -587
rect 714 -621 748 -587
<< metal1 >>
rect -909 593 771 626
rect -909 559 -886 593
rect -852 559 -806 593
rect -772 559 -726 593
rect -692 559 -646 593
rect -612 559 -566 593
rect -532 559 -486 593
rect -452 559 -406 593
rect -372 559 -326 593
rect -292 559 -246 593
rect -212 559 -166 593
rect -132 559 -86 593
rect -52 559 -6 593
rect 28 559 74 593
rect 108 559 154 593
rect 188 559 234 593
rect 268 559 314 593
rect 348 559 394 593
rect 428 559 474 593
rect 508 559 554 593
rect 588 559 634 593
rect 668 559 714 593
rect 748 559 771 593
rect -909 526 771 559
rect -719 -154 -679 526
rect -559 372 -479 386
rect -559 320 -545 372
rect -493 320 -479 372
rect -559 306 -479 320
rect -409 373 -329 526
rect -409 339 -386 373
rect -352 339 -329 373
rect -409 293 -329 339
rect -559 252 -479 266
rect -559 200 -545 252
rect -493 200 -479 252
rect -559 186 -479 200
rect -409 259 -386 293
rect -352 259 -329 293
rect -409 213 -329 259
rect -409 179 -386 213
rect -352 179 -329 213
rect -409 156 -329 179
rect -109 373 -29 526
rect -109 339 -86 373
rect -52 339 -29 373
rect -109 293 -29 339
rect -109 259 -86 293
rect -52 259 -29 293
rect -109 213 -29 259
rect -109 179 -86 213
rect -52 179 -29 213
rect -109 156 -29 179
rect 191 373 271 526
rect 191 339 214 373
rect 248 339 271 373
rect 191 293 271 339
rect 571 372 651 386
rect 571 320 585 372
rect 637 320 651 372
rect 571 306 651 320
rect 191 259 214 293
rect 248 259 271 293
rect 191 213 271 259
rect 191 179 214 213
rect 248 179 271 213
rect 421 252 501 266
rect 421 200 435 252
rect 487 200 501 252
rect 421 186 501 200
rect 191 156 271 179
rect -59 96 21 116
rect 341 96 421 116
rect -59 93 421 96
rect -59 59 -36 93
rect -2 59 364 93
rect 398 59 421 93
rect -59 56 421 59
rect -59 36 21 56
rect 341 36 421 56
rect 691 -154 731 526
rect -739 -187 -659 -154
rect -739 -221 -716 -187
rect -682 -221 -659 -187
rect -739 -267 -659 -221
rect -739 -301 -716 -267
rect -682 -301 -659 -267
rect -739 -347 -659 -301
rect -739 -381 -716 -347
rect -682 -381 -659 -347
rect -739 -404 -659 -381
rect -409 -187 -329 -154
rect -409 -221 -386 -187
rect -352 -221 -329 -187
rect -409 -267 -329 -221
rect -409 -301 -386 -267
rect -352 -301 -329 -267
rect -409 -347 -329 -301
rect -409 -381 -386 -347
rect -352 -381 -329 -347
rect -409 -404 -329 -381
rect -109 -187 -29 -154
rect -109 -221 -86 -187
rect -52 -221 -29 -187
rect -109 -267 -29 -221
rect -109 -301 -86 -267
rect -52 -301 -29 -267
rect -109 -347 -29 -301
rect -109 -381 -86 -347
rect -52 -381 -29 -347
rect -109 -404 -29 -381
rect 191 -187 271 -154
rect 191 -221 214 -187
rect 248 -221 271 -187
rect 191 -267 271 -221
rect 191 -301 214 -267
rect 248 -301 271 -267
rect 191 -347 271 -301
rect 191 -381 214 -347
rect 248 -381 271 -347
rect 191 -404 271 -381
rect 671 -187 751 -154
rect 671 -221 694 -187
rect 728 -221 751 -187
rect 671 -267 751 -221
rect 671 -301 694 -267
rect 728 -301 751 -267
rect 671 -347 751 -301
rect 671 -381 694 -347
rect 728 -381 751 -347
rect 671 -404 751 -381
rect -389 -554 -349 -404
rect -89 -554 -49 -404
rect 211 -554 251 -404
rect -909 -587 771 -554
rect -909 -621 -886 -587
rect -852 -621 -806 -587
rect -772 -621 -726 -587
rect -692 -621 -646 -587
rect -612 -621 -566 -587
rect -532 -621 -486 -587
rect -452 -621 -406 -587
rect -372 -621 -326 -587
rect -292 -621 -246 -587
rect -212 -621 -166 -587
rect -132 -621 -86 -587
rect -52 -621 -6 -587
rect 28 -621 74 -587
rect 108 -621 154 -587
rect 188 -621 234 -587
rect 268 -621 314 -587
rect 348 -621 394 -587
rect 428 -621 474 -587
rect 508 -621 554 -587
rect 588 -621 634 -587
rect 668 -621 714 -587
rect 748 -621 771 -587
rect -909 -654 771 -621
<< via1 >>
rect -545 363 -493 372
rect -545 329 -536 363
rect -536 329 -502 363
rect -502 329 -493 363
rect -545 320 -493 329
rect -545 243 -493 252
rect -545 209 -536 243
rect -536 209 -502 243
rect -502 209 -493 243
rect -545 200 -493 209
rect 585 363 637 372
rect 585 329 594 363
rect 594 329 628 363
rect 628 329 637 363
rect 585 320 637 329
rect 435 243 487 252
rect 435 209 444 243
rect 444 209 478 243
rect 478 209 487 243
rect 435 200 487 209
<< metal2 >>
rect -559 372 -479 386
rect -559 320 -545 372
rect -493 366 -479 372
rect 571 372 651 386
rect 571 366 585 372
rect -493 326 585 366
rect -493 320 -479 326
rect -559 306 -479 320
rect 571 320 585 326
rect 637 320 651 372
rect 571 306 651 320
rect -559 252 -479 266
rect -559 200 -545 252
rect -493 246 -479 252
rect 421 252 501 266
rect 421 246 435 252
rect -493 206 435 246
rect -493 200 -479 206
rect -559 186 -479 200
rect 421 200 435 206
rect 487 200 501 252
rect 421 186 501 200
<< labels >>
rlabel metal1 s -39 56 1 96 4 OUT_bar
port 1 nsew
rlabel metal1 s -89 -624 -49 -584 4 GND!
port 2 nsew
rlabel metal1 s -89 556 -49 596 4 CLK
port 3 nsew
rlabel locali s -139 -69 -99 -29 4 OUT
port 4 nsew
rlabel locali s -899 336 -879 356 4 A
port 5 nsew
rlabel locali s -899 116 -879 136 4 A_bar
port 6 nsew
rlabel locali s -899 216 -879 236 4 B
port 7 nsew
rlabel locali s -899 16 -879 36 4 B_bar
port 8 nsew
rlabel locali s -289 -504 -249 -464 4 Dis
port 9 nsew
<< end >>

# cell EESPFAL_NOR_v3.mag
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
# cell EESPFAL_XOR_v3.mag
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
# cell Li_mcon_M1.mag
magic
tech sky130A
magscale 1 2
<< locali >>
rect -20 37 60 60
rect -20 3 3 37
rect 37 3 60 37
rect -20 -20 60 3
<< viali >>
rect 3 3 37 37
<< metal1 >>
rect -20 37 60 60
rect -20 3 3 37
rect 37 3 60 37
rect -20 -20 60 3
<< end >>

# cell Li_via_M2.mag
magic
tech sky130A
magscale 1 2
<< locali >>
rect -40 19 40 42
rect -40 -15 -17 19
rect 17 -15 40 19
rect -40 -38 40 -15
<< viali >>
rect -17 -15 17 19
<< metal1 >>
rect -40 28 40 42
rect -40 -24 -26 28
rect 26 -24 40 28
rect -40 -38 40 -24
<< via1 >>
rect -26 19 26 28
rect -26 -15 -17 19
rect -17 -15 17 19
rect 17 -15 26 19
rect -26 -24 26 -15
<< metal2 >>
rect -40 28 40 42
rect -40 -24 -26 28
rect 26 -24 40 28
rect -40 -38 40 -24
<< end >>

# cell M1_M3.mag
magic
tech sky130A
magscale 1 2
<< metal1 >>
rect -100 -13 -20 0
rect -100 -65 -86 -13
rect -34 -65 -20 -13
rect -100 -80 -20 -65
<< via1 >>
rect -86 -65 -34 -13
<< metal2 >>
rect -100 -11 -20 0
rect -100 -67 -88 -11
rect -32 -67 -20 -11
rect -100 -80 -20 -67
<< via2 >>
rect -88 -13 -32 -11
rect -88 -65 -86 -13
rect -86 -65 -34 -13
rect -34 -65 -32 -13
rect -88 -67 -32 -65
<< metal3 >>
rect -110 -11 -10 10
rect -110 -67 -88 -11
rect -32 -67 -10 -11
rect -110 -90 -10 -67
<< end >>

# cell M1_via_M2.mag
magic
tech sky130A
<< metal1 >>
rect -20 14 20 21
rect -20 -12 -13 14
rect 13 -12 20 14
rect -20 -19 20 -12
<< via1 >>
rect -13 -12 13 14
<< metal2 >>
rect -20 14 20 21
rect -20 -12 -13 14
rect 13 -12 20 14
rect -20 -19 20 -12
<< end >>
